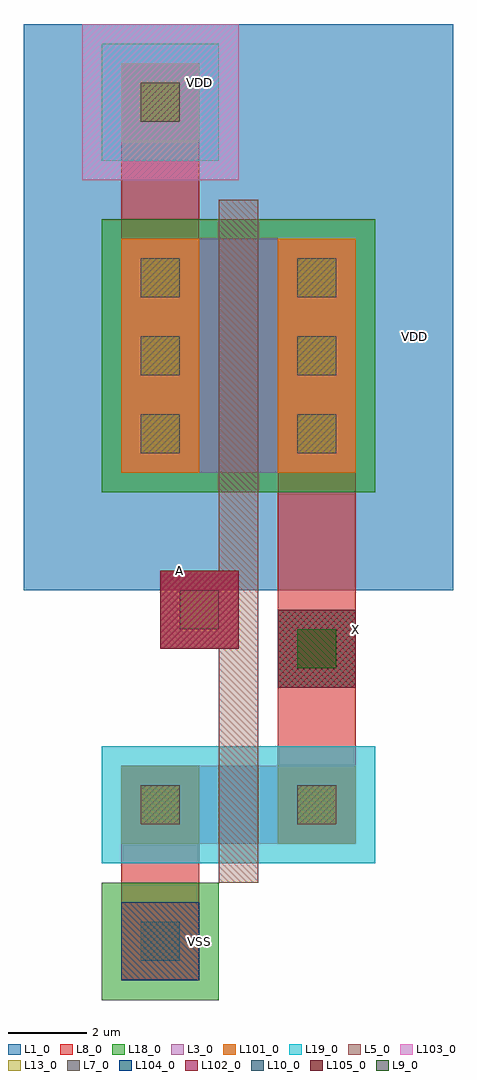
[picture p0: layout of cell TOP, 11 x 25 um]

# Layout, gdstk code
from math import pi, radians
import gdstk
lib = gdstk.Library(unit=1e-6, precision=1e-09)
def R(c, l, rs):  # rectangles x0, y0, x1, y1
    for r in rs: c.add(gdstk.rectangle(r[:2], r[2:], *l))
L1_0 = (1, 0)
L3_0 = (3, 0)
L5_0 = (5, 0)
L7_0 = (7, 0)
L8_0 = (8, 0)
L9_0 = (9, 0)
L10_0 = (10, 0)
L13_0 = (13, 0)
L18_0 = (18, 0)
L19_0 = (19, 0)
L101_0 = (101, 0)
L102_0 = (102, 0)
L103_0 = (103, 0)
L104_0 = (104, 0)
L105_0 = (105, 0)

dcont = lib.new_cell('dcont')
R(dcont, L3_0, [(-1,-1,1,1)])
R(dcont, L7_0, [(-0.5,-0.5,0.5,0.5)])
R(dcont, L8_0, [(-1,-1,1,1)])
R(dcont, L13_0, [(-0.5,-0.5,0.5,0.5)])
R(dcont, L101_0, [(-1,-1,1,1)])
dcont.add(gdstk.Label('dcont', (0,0), layer=13, texttype=0))

nsubcont = lib.new_cell('nsubcont')
R(nsubcont, L1_0, [(-2,-2,2,2)])
R(nsubcont, L19_0, [(-1.5,-1.5,1.5,1.5)])
R(nsubcont, L103_0, [(-2,-2,2,2)])
nsubcont.add(gdstk.Reference(dcont, (0,0)))
nsubcont.add(gdstk.Label('NScont', (0,0), layer=13, texttype=0))

psubcont = lib.new_cell('psubcont')
R(psubcont, L18_0, [(-1.5,-1.5,1.5,1.5)])
R(psubcont, L104_0, [(-1,-1,1,1)])
psubcont.add(gdstk.Reference(dcont, (0,0)))
psubcont.add(gdstk.Label('PScon', (0,0), layer=13, texttype=0))

pcont = lib.new_cell('pcont')
R(pcont, L5_0, [(-1,-1,1,1)])
R(pcont, L7_0, [(-0.5,-0.5,0.5,0.5)])
R(pcont, L8_0, [(-1,-1,1,1)])
R(pcont, L13_0, [(-0.5,-0.5,0.5,0.5)])
R(pcont, L102_0, [(-1,-1,1,1)])
pcont.add(gdstk.Label('pcont', (0,0), layer=13, texttype=0))

via = lib.new_cell('Via')
R(via, L8_0, [(-1,-1,1,1)])
R(via, L9_0, [(-0.5,-0.5,0.5,0.5)])
R(via, L10_0, [(-1,-1,1,1)])
R(via, L13_0, [(-0.5,-0.5,0.5,0.5)])
R(via, L105_0, [(-1,-1,1,1)])
via.add(gdstk.Label('via', (0,0), layer=13, texttype=0))

top = lib.new_cell('TOP')
R(top, L1_0, [(-8,-5.5,3,9)])
R(top, L3_0, [(-3.5,-12,-1.5,-10), (-3.5,-2.5,-1.5,3.5)])
R(top, L8_0, [(-5.5,-13.5,-3.5,-12), (-1.5,-10,0.5,-8), (-1.5,-6,0.5,-2.5), (-5.5,3.5,-3.5,6)])
R(top, L18_0, [(-6,-3,1,4)])
R(top, L19_0, [(-6,-12.5,1,-9.5)])
top.add(gdstk.FlexPath([(-2.5,4.5),(-2.5,-3.5),(-2.5,-3.5)], 1, ends="flush", simple_path=True, layer=5, datatype=0))  # L5_0
top.add(gdstk.FlexPath([(-2.5,-9),(-2.5,-13),(-2.5,-13)], 1, ends="flush", simple_path=True, layer=5, datatype=0))  # L5_0
top.add(gdstk.FlexPath([(-2.5,-3.5),(-2.5,-9)], 1, ends="flush", simple_path=True, layer=5, datatype=0))  # L5_0
top.add(gdstk.Reference(nsubcont, (-4.5,7), rotation=pi))
top.add(gdstk.Reference(dcont, (-4.5,2.5), rotation=pi))
top.add(gdstk.Reference(dcont, (-4.5,0.5), rotation=pi))
top.add(gdstk.Reference(dcont, (-4.5,-1.5), rotation=pi))
top.add(gdstk.Reference(dcont, (-0.5,2.5), rotation=pi))
top.add(gdstk.Reference(dcont, (-0.5,0.5), rotation=pi))
top.add(gdstk.Reference(dcont, (-0.5,-1.5), rotation=pi))
top.add(gdstk.Reference(dcont, (-4.5,-11), rotation=pi))
top.add(gdstk.Reference(dcont, (-0.5,-11), rotation=pi))
top.add(gdstk.Reference(psubcont, (-4.5,-14.5), rotation=pi))
top.add(gdstk.Reference(pcont, (-3.5,-6), rotation=pi))
top.add(gdstk.Reference(via, (-0.5,-7), rotation=pi))
top.add(gdstk.Label('VDD', (-3.5,7.5), layer=8, texttype=0))
top.add(gdstk.Label('VSS', (-3.5,-14.5), layer=8, texttype=0))
top.add(gdstk.Label('VDD', (-3.5,7.5), layer=13, texttype=0))
top.add(gdstk.Label('VDD', (2,1), layer=13, texttype=0))
top.add(gdstk.Label('A', (-4,-5), layer=10, texttype=0))
top.add(gdstk.Label('X', (0.5,-6.5), layer=10, texttype=0))

lib.write_gds('TOP.gds')
